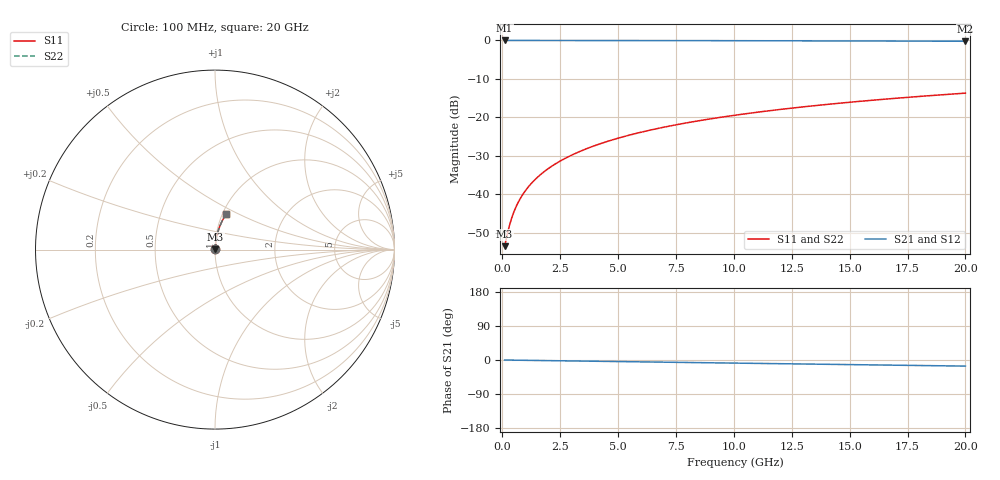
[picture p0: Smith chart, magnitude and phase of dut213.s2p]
! Touchstone file exported from HFSS 2026.1.0
!  File:  C:/ffzhzh/LocalFiles/Ansys_Project_Files/temp_train_BSMRDL_213_1782987932_45328.aedt
!  Generated:  06:26:43 PM Jul  2, 2026
!  Design:  BSMRDL
!  Project:  temp_train_BSMRDL_213_1782987932_45328
! Variables:
!  h_bsmrdl = 2.03um
!  h_ox = 20um
!  h_rdl = 5um
!  h_sub = 80um
!  h_tmrdl = 5um
!  h_tsv = 80um
!  h_via = 3um
!  l_bsmrdl = 145.69um
!  l_sub = 545.69um
!  l_tmrdl = 200um
!  m_sub = 200um
!  pitch = 58.32um
!  r_tsv = 6um
!  s_tmrdl = 10um
!  w_bsmrdl = 18.28um
!  w_sub = 500um
!  w_tmrdl = 12um
!  x_tsv_center1 = 206um
!  x_tsv_center2 = 369.97um
!  x_tsv_center3 = 581.97um
!  x_tsv_center4 = 745.94um
!  x_tsv_center5 = 957.94um
!  x_tsv_center6 = 1121.91um
# GHz S MA R 50.000000
! Terminal data exported
! Port[1] = BSM_RDL1_1_T1
! Port[2] = BSM_RDL1_1_T2
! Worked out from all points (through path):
!   200 points, 100 MHz to 20 GHz, reference 50 ohm
!   highest |S21| = -0.02 dB at 100 MHz (marker M1); lowest = -0.2 dB at 20 GHz (marker M2)
!   group delay of S21, straight-line fit = 2.24 ps
!   lowest |S11| = -53.5 dB at 100 MHz (marker M3), VSWR 1.00, Z = 50.2 + j0.113 ohm
!   |S11| at or under -10 dB: start of sweep to end of sweep
!   |S22| runs from -53.5 to -13.7 dB; largest |S21 - S12| = 6.2e-15
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0.1  0.00211 32.2  0.9982 -0.1  0.9982 -0.1  0.00211 32.2
! Gamma 0 0 0 0
! Port Impedance 50 0 50 0
0.2  0.002883 51.1  0.9982 -0.2  0.9982 -0.2  0.002883 51.1
0.3  0.00383 61.2  0.9982 -0.3  0.9982 -0.3  0.00383 61.2
0.4  0.004843 67.0  0.9981 -0.3  0.9981 -0.3  0.004843 67.0
0.5  0.005881 70.7  0.9981 -0.4  0.9981 -0.4  0.005881 70.7
0.6  0.006929 73.2  0.998 -0.5  0.998 -0.5  0.006929 73.2
0.8  0.009032 76.5  0.998 -0.7  0.998 -0.7  0.009032 76.5
1.1  0.01219 79.2  0.9978 -0.9  0.9978 -0.9  0.01219 79.2
1.5  0.0164 81.2  0.9977 -1.2  0.9977 -1.2  0.0164 81.2
1.8  0.01957 82.1  0.9976 -1.5  0.9976 -1.5  0.01957 82.1
2.1  0.02274 82.6  0.9975 -1.7  0.9975 -1.7  0.02274 82.6
2.7  0.0291 83.3  0.9973 -2.2  0.9973 -2.2  0.0291 83.3
3.5  0.03759 83.6  0.997 -2.9  0.997 -2.9  0.03759 83.6
4.2  0.04501 83.5  0.9966 -3.5  0.9966 -3.5  0.04501 83.5
5  0.05349 83.3  0.9961 -4.1  0.9961 -4.1  0.05349 83.3
5.9  0.06301 82.9  0.9955 -4.9  0.9955 -4.9  0.06301 82.9
6.8  0.0725 82.4  0.9948 -5.6  0.9948 -5.6  0.0725 82.4
8.3  0.08824 81.4  0.9934 -6.8  0.9934 -6.8  0.08824 81.4
10.1  0.107 80.2  0.9913 -8.3  0.9913 -8.3  0.107 80.2
13.4  0.1408 77.7  0.9867 -10.9  0.9867 -10.9  0.1408 77.7
16.7  0.1739 75.3  0.9811 -13.5  0.9811 -13.5  0.1739 75.2
20  0.2061 72.7  0.9744 -16.1  0.9744 -16.1  0.2061 72.7
